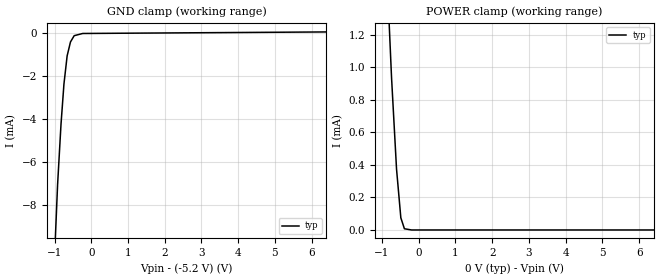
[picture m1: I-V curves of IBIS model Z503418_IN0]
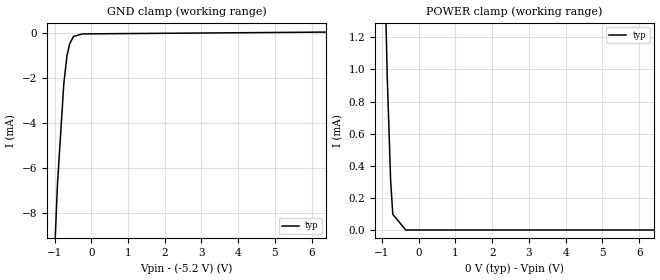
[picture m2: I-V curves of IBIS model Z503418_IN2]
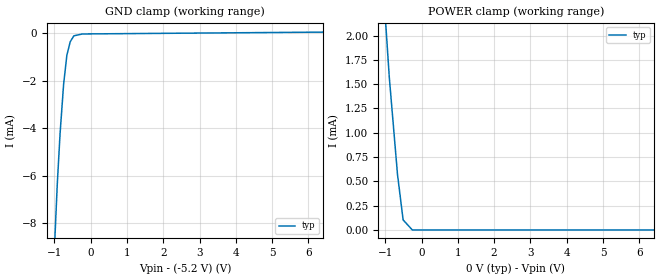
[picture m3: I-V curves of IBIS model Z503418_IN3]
| YOU ARE ONLY AUTHORIZED TO USE THIS SOFTWARE
| ACCORDING TO LICENSOR'S LICENSE RESTRICTIONS.
[IBIS Ver] 3.1
[File Name] mc10e196fn.ibs
[File Rev] 2.0
[Source] Measured and created by ICX Technology
[Date] Friday 7/14/00 9:07:49 AM
[Copyright]
| (C) COPYRIGHT 1993-2000
| MENTOR GRAPHICS CORPORATION
| ICX STANDARD LIBRARY, ICX PROJECT MODELING,
| ICX CUSTOM MODELING, ICX VENDOR MODEL
| ALL RIGHTS RESERVED.
| THE FOLLOWING ARE TRADEMARKS OR SERVICE MARKS OF
| MENTOR GRAPHICS CORPORATION:ICX (R), ICX STANDARD
| LIBRARY(R), ICX PROJECT MODELING(R), ICX CUSTOM
| MODELING(R), qualityIBIS(TM), MODELVIEWER(TM),
| AND MODELEDITOR(TM)
| ALL COPIES OF SOFTWARE, INCLUDING BUT NOT LIMITED TO
| ANY MODIFICATIONS, ENHANCEMENTS OR DERIVATIVE WORKS,
| MUST CONTAIN ALL MENTOR GRAPHICS CORPORATION'S
| NOTICES AND LEGENDS, INCLUDING THOSE EMBEDDED IN
| SOFTWARE AND THOSE AFFIXED TO SOFTWARE MEDIUM
| AND CONTAINER, AS RECEIVED FROM MENTOR GRAPHICS
| CORPORATION.
|  ZAP Model Builder 2.7
[Component] MC10E196FN
[Manufacturer] OnSemiconductor
[Package]
| variable   typ   min   max
R_pkg  .083ohms NA NA
L_pkg  4.299nH NA NA
C_pkg  1.045pF NA NA
[Pin] signal_name  model_name  R_pin  L_pin C_pin
1 VEE POWER .08 3.94n .925p
2 IN Z503418_IN0 .082 4.14n .995p
3 _IN Z503418_IN1 .084 4.354n 1.065p
4 VBB POWER .086 4.583n 1.135p
5 NC NC .086 4.583n 1.135p
6 NC NC .084 4.354n 1.065p
7 _EN Z503418_IN2 .082 4.14n .995p
8 SET_MIN Z503418_IN3 .08 3.94n .925p
9 SET_MAX Z503418_IN4 .082 4.14n .995p
10 CASCADE Z503418_OUT0 .084 4.354n 1.065p
11 _CASCADE Z503418_OUT1 .086 4.583n 1.135p
12 VCCO POWER .086 4.583n 1.135p
13 _Q Z503418_OUT2 .084 4.354n 1.065p
14 Q Z503418_OUT3 .082 4.14n .995p
15 VCCO POWER .08 3.94n .925p
16 VCC POWER .082 4.14n .995p
17 NC NC .084 4.354n 1.065p
18 FTUNE Z503418_IN5 .086 4.583n 1.135p
19 NC NC .086 4.583n 1.135p
20 D7 Z503418_IN6 .084 4.354n 1.065p
21 D6 Z503418_IN6 .082 4.14n .995p
22 D5 Z503418_IN6 .08 3.94n .925p
23 D4 Z503418_IN6 .082 4.14n .995p
24 D3 Z503418_IN6 .084 4.354n 1.065p
25 D2 Z503418_IN6 .086 4.583n 1.135p
26 D1 Z503418_IN6 .086 4.583n 1.135p
27 D0 Z503418_IN6 .084 4.354n 1.065p
28 LEN Z503418_IN7 .082 4.14n .995p
| Models and submodels in the file (12): Z503418_IN0 (Input_ECL), Z503418_IN1 (Input_ECL), Z503418_IN2 (Input_ECL), Z503418_IN3 (Input_ECL), Z503418_IN4 (Input_ECL), Z503418_IN5 (Input_ECL), Z503418_IN6 (Input_ECL), Z503418_IN7 (Input_ECL), Z503418_OUT0 (Output_ECL), Z503418_OUT1 (Output_ECL), Z503418_OUT2 (Output_ECL), Z503418_OUT3 (Output_ECL)
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| (C) COPYRIGHT 1993-2000
| MENTOR GRAPHICS CORPORATION
| ICX STANDARD LIBRARY, ICX PROJECT MODELING,
| ICX CUSTOM MODELING, ICX VENDOR MODEL
| ALL RIGHTS RESERVED.
| THE FOLLOWING ARE TRADEMARKS OR SERVICE MARKS OF
| MENTOR GRAPHICS CORPORATION:ICX (R), ICX STANDARD
| LIBRARY(R), ICX PROJECT MODELING(R), ICX CUSTOM
| MODELING(R), qualityIBIS(TM), MODELVIEWER(TM),
| AND MODELEDITOR(TM)
| ALL COPIES OF SOFTWARE, INCLUDING BUT NOT LIMITED TO
| ANY MODIFICATIONS, ENHANCEMENTS OR DERIVATIVE WORKS,
| MUST CONTAIN ALL MENTOR GRAPHICS CORPORATION'S
| NOTICES AND LEGENDS, INCLUDING THOSE EMBEDDED IN
| SOFTWARE AND THOSE AFFIXED TO SOFTWARE MEDIUM
| AND CONTAINER, AS RECEIVED FROM MENTOR GRAPHICS
| CORPORATION.
| Model Application Version 1.89 2/18/99.
[Model] Z503418_IN0
Model_type Input_ECL
Vinl = -1.480V
Vinh = -1.130V
C_comp 4.000pF NA NA
| variable typ   min   max
[Voltage Range] -5.200V NA NA
[GND Clamp Reference] -5.200V NA NA
[POWER Clamp Reference] 0.000V NA NA
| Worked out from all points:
|   GND clamp passes 1 mA (typ) near -0.65 V on its own axis
[GND Clamp]
-5.2V     -240.1mA   NA         NA
-1.071V   -13.37mA   NA         NA
-917mV    -7.063mA   NA         NA
-824mV    -4.251mA   NA         NA
-744mV    -2.379mA   NA         NA
-657mV    -1.063mA   NA         NA
-566mV    -414.4uA   NA         NA
-465mV    -122.1uA   NA         NA
-232.5mV  -19.42uA   NA         NA
10.4V     95.75uA    NA         NA
[POWER Clamp]
-5.2V     32.01mA    NA         NA
-2.456V   10.49mA    NA         NA
-2.064V   7.811mA    NA         NA
-1.802V   6.38mA     NA         NA
-742mV    940.2uA    NA         NA
-605.7mV  375.5uA    NA         NA
-488.1mV  74.59uA    NA         NA
-390.7mV  7.414uA    NA         NA
-195.4mV  0A         NA         NA
10.4V     0A         NA         NA
| (C) COPYRIGHT 1993-2000
| MENTOR GRAPHICS CORPORATION
| ICX STANDARD LIBRARY, ICX PROJECT MODELING,
| ICX CUSTOM MODELING, ICX VENDOR MODEL
| ALL RIGHTS RESERVED.
| THE FOLLOWING ARE TRADEMARKS OR SERVICE MARKS OF
| MENTOR GRAPHICS CORPORATION:ICX (R), ICX STANDARD
| LIBRARY(R), ICX PROJECT MODELING(R), ICX CUSTOM
| MODELING(R), qualityIBIS(TM), MODELVIEWER(TM),
| AND MODELEDITOR(TM)
| ALL COPIES OF SOFTWARE, INCLUDING BUT NOT LIMITED TO
| ANY MODIFICATIONS, ENHANCEMENTS OR DERIVATIVE WORKS,
| MUST CONTAIN ALL MENTOR GRAPHICS CORPORATION'S
| NOTICES AND LEGENDS, INCLUDING THOSE EMBEDDED IN
| SOFTWARE AND THOSE AFFIXED TO SOFTWARE MEDIUM
| AND CONTAINER, AS RECEIVED FROM MENTOR GRAPHICS
| CORPORATION.
| Model Application Version 1.89 2/18/99.
[Model] Z503418_IN2
Model_type Input_ECL
Vinl = -1.480V
Vinh = -1.130V
C_comp 4.000pF NA NA
| variable typ   min   max
[Voltage Range] -5.200V NA NA
[GND Clamp Reference] -5.200V NA NA
[POWER Clamp Reference] 0.000V NA NA
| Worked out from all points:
|   GND clamp passes 1 mA (typ) near -0.66 V on its own axis
[GND Clamp]
-5.2V     -235.2mA   NA         NA
-1.077V   -12.89mA   NA         NA
-921mV    -6.72mA    NA         NA
-747mV    -2.218mA   NA         NA
-659mV    -967.8uA   NA         NA
-585mV    -447uA     NA         NA
-484mV    -133.8uA   NA         NA
-242mV    -19.66uA   NA         NA
10.4V     109.6uA    NA         NA
[POWER Clamp]
-5.2V     69.96mA    NA         NA
-2.52V    20.05mA    NA         NA
-2.451V   19.02mA    NA         NA
-2.168V   15.51mA    NA         NA
-1.133V   3.715mA    NA         NA
-858.5mV  953.2uA    NA         NA
-766.6mV  310.3uA    NA         NA
-706.7mV  96.9uA     NA         NA
-353.4mV  0A         NA         NA
10.4V     0A         NA         NA
| (C) COPYRIGHT 1993-2000
| MENTOR GRAPHICS CORPORATION
| ICX STANDARD LIBRARY, ICX PROJECT MODELING,
| ICX CUSTOM MODELING, ICX VENDOR MODEL
| ALL RIGHTS RESERVED.
| THE FOLLOWING ARE TRADEMARKS OR SERVICE MARKS OF
| MENTOR GRAPHICS CORPORATION:ICX (R), ICX STANDARD
| LIBRARY(R), ICX PROJECT MODELING(R), ICX CUSTOM
| MODELING(R), qualityIBIS(TM), MODELVIEWER(TM),
| AND MODELEDITOR(TM)
| ALL COPIES OF SOFTWARE, INCLUDING BUT NOT LIMITED TO
| ANY MODIFICATIONS, ENHANCEMENTS OR DERIVATIVE WORKS,
| MUST CONTAIN ALL MENTOR GRAPHICS CORPORATION'S
| NOTICES AND LEGENDS, INCLUDING THOSE EMBEDDED IN
| SOFTWARE AND THOSE AFFIXED TO SOFTWARE MEDIUM
| AND CONTAINER, AS RECEIVED FROM MENTOR GRAPHICS
| CORPORATION.
| Model Application Version 1.89 2/18/99.
[Model] Z503418_IN3
Model_type Input_ECL
Vinl = -1.480V
Vinh = -1.130V
C_comp 4.000pF NA NA
| variable typ   min   max
[Voltage Range] -5.200V NA NA
[GND Clamp Reference] -5.200V NA NA
[POWER Clamp Reference] 0.000V NA NA
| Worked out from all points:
|   GND clamp passes 1 mA (typ) near -0.66 V on its own axis
|   POWER clamp passes 1 mA (typ) near -0.76 V on its own axis
[GND Clamp]
-5.2V     -198.9mA   NA         NA
-1.085V   -12.01mA   NA         NA
-923mV    -6.372mA   NA         NA
-845mV    -4.21mA    NA         NA
-747mV    -2.128mA   NA         NA
-659mV    -925.2uA   NA         NA
-566mV    -350.3uA   NA         NA
-465mV    -98.7uA    NA         NA
-232.5mV  -20uA      NA         NA
10.4V     105.1uA    NA         NA
[POWER Clamp]
-5.2V     39.6mA     NA         NA
-1.562V   6.586mA    NA         NA
-1.211V   3.635mA    NA         NA
-1.043V   2.434mA    NA         NA
-889.7mV  1.574mA    NA         NA
-663.1mV  572.4uA    NA         NA
-507.7mV  103.4uA    NA         NA
-253.9mV  0A         NA         NA
10.4V     0A         NA         NA
